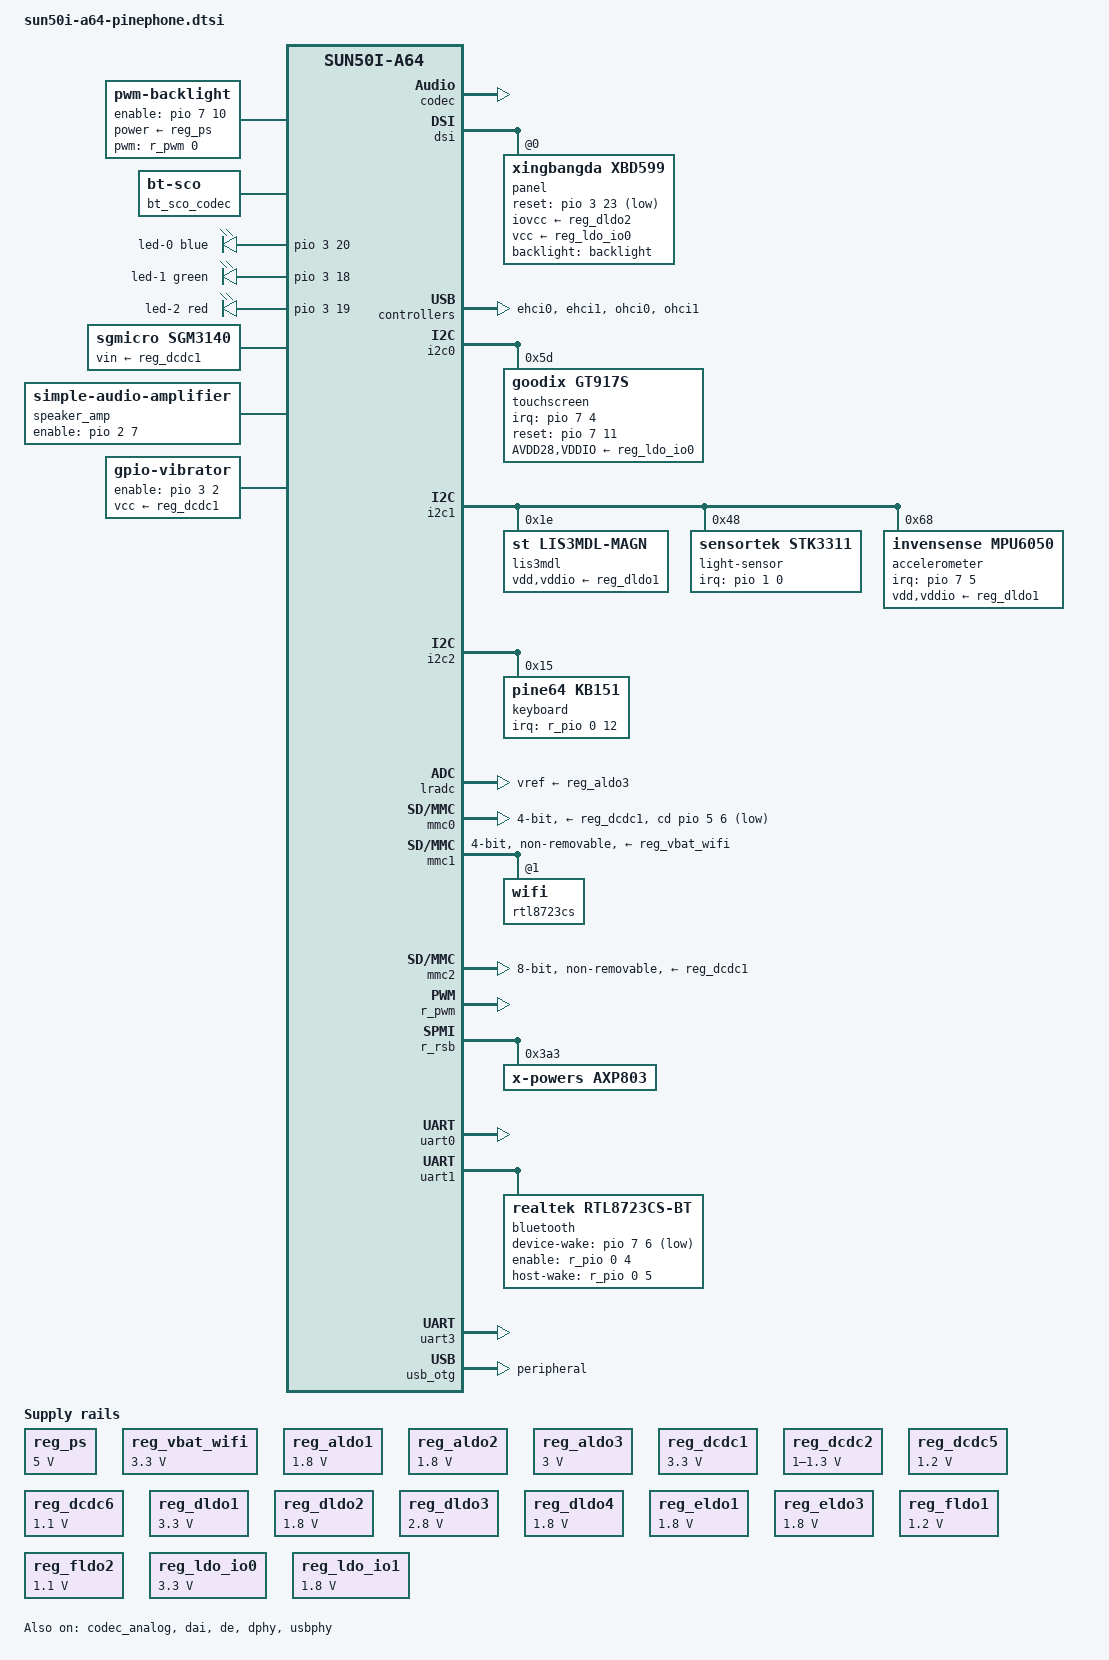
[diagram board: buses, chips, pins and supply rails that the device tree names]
// SPDX-License-Identifier: (GPL-2.0+ OR MIT)
// Copyright (C) 2019 Icenowy Zheng <icenowy@aosc.xyz>
// Copyright (C) 2020 Martijn Braam <martijn@brixit.nl>
// Copyright (C) 2020 Ondrej Jirman <megous@megous.com>

#include "sun50i-a64.dtsi"
#include "sun50i-a64-cpu-opp.dtsi"

#include <dt-bindings/gpio/gpio.h>
#include <dt-bindings/input/input.h>
#include <dt-bindings/leds/common.h>
#include <dt-bindings/pwm/pwm.h>

/ {
	aliases {
		ethernet0 = &rtl8723cs;
		serial0 = &uart0;
	};

	backlight: backlight {
		compatible = "pwm-backlight";
		pwms = <&r_pwm 0 50000 PWM_POLARITY_INVERTED>;
		enable-gpios = <&pio 7 10 GPIO_ACTIVE_HIGH>; /* PH10 */
		power-supply = <&reg_ps>;
		/* Backlight configuration differs per PinePhone revision. */
	};

	bt_sco_codec: bt-sco-codec {
		#sound-dai-cells = <1>;
		compatible = "linux,bt-sco";
	};

	chosen {
		stdout-path = "serial0:115200n8";
	};

	leds {
		compatible = "gpio-leds";

		led-0 {
			function = LED_FUNCTION_INDICATOR;
			color = <LED_COLOR_ID_BLUE>;
			gpios = <&pio 3 20 GPIO_ACTIVE_HIGH>; /* PD20 */
		};

		led-1 {
			function = LED_FUNCTION_INDICATOR;
			color = <LED_COLOR_ID_GREEN>;
			gpios = <&pio 3 18 GPIO_ACTIVE_HIGH>; /* PD18 */
		};

		led-2 {
			function = LED_FUNCTION_INDICATOR;
			color = <LED_COLOR_ID_RED>;
			gpios = <&pio 3 19 GPIO_ACTIVE_HIGH>; /* PD19 */
		};
	};

	reg_ps: ps-regulator {
		compatible = "regulator-fixed";
		regulator-name = "ps";
		regulator-min-microvolt = <5000000>;
		regulator-max-microvolt = <5000000>;
		regulator-boot-on;
	};

	reg_vbat_wifi: vbat-wifi {
		compatible = "regulator-fixed";
		regulator-min-microvolt = <3300000>;
		regulator-max-microvolt = <3300000>;
		regulator-name = "vbat-wifi";
	};

	sgm3140: led-controller {
		compatible = "sgmicro,sgm3140";
		vin-supply = <&reg_dcdc1>;

		sgm3140_flash: led {
			function = LED_FUNCTION_FLASH;
			color = <LED_COLOR_ID_WHITE>;
			flash-max-timeout-us = <250000>;
		};
	};

	speaker_amp: audio-amplifier {
		compatible = "simple-audio-amplifier";
		enable-gpios = <&pio 2 7 GPIO_ACTIVE_HIGH>; /* PC7 */
		sound-name-prefix = "Speaker Amp";
	};

	vibrator {
		compatible = "gpio-vibrator";
		enable-gpios = <&pio 3 2 GPIO_ACTIVE_HIGH>; /* PD2 */
		vcc-supply = <&reg_dcdc1>;
	};
};

&codec {
	pinctrl-names = "default";
	pinctrl-0 = <&aif3_pins>;
	status = "okay";
};

&codec_analog {
	cpvdd-supply = <&reg_eldo1>;
	status = "okay";
};

&cpu0 {
	cpu-supply = <&reg_dcdc2>;
};

&cpu1 {
	cpu-supply = <&reg_dcdc2>;
};

&cpu2 {
	cpu-supply = <&reg_dcdc2>;
};

&cpu3 {
	cpu-supply = <&reg_dcdc2>;
};

&dai {
	status = "okay";
};

&de {
	status = "okay";
};

&dphy {
	status = "okay";
};

&dsi {
	vcc-dsi-supply = <&reg_dldo1>;
	status = "okay";

	panel@0 {
		compatible = "xingbangda,xbd599";
		reg = <0>;
		reset-gpios = <&pio 3 23 GPIO_ACTIVE_LOW>; /* PD23 */
		iovcc-supply = <&reg_dldo2>;
		vcc-supply = <&reg_ldo_io0>;
		backlight = <&backlight>;
	};
};

&ehci0 {
	status = "okay";
};

&ehci1 {
	status = "okay";
};

&i2c0 {
	status = "okay";

	touchscreen@5d {
		compatible = "goodix,gt917s";
		reg = <0x5d>;
		interrupt-parent = <&pio>;
		interrupts = <7 4 IRQ_TYPE_LEVEL_HIGH>; /* PH4 */
		irq-gpios = <&pio 7 4 GPIO_ACTIVE_HIGH>; /* PH4 */
		reset-gpios = <&pio 7 11 GPIO_ACTIVE_HIGH>; /* PH11 */
		AVDD28-supply = <&reg_ldo_io0>;
		VDDIO-supply = <&reg_ldo_io0>;
		touchscreen-size-x = <720>;
		touchscreen-size-y = <1440>;
	};
};

&i2c1 {
	status = "okay";

	/* Magnetometer */
	lis3mdl: magnetometer@1e {
		compatible = "st,lis3mdl-magn";
		reg = <0x1e>;
		vdd-supply = <&reg_dldo1>;
		vddio-supply = <&reg_dldo1>;
	};

	/* Light/proximity sensor */
	light-sensor@48 {
		compatible = "sensortek,stk3311";
		reg = <0x48>;
		interrupt-parent = <&pio>;
		interrupts = <1 0 IRQ_TYPE_EDGE_FALLING>; /* PB0 */
	};

	/* Accelerometer/gyroscope */
	accelerometer@68 {
		compatible = "invensense,mpu6050";
		reg = <0x68>;
		interrupt-parent = <&pio>;
		interrupts = <7 5 IRQ_TYPE_EDGE_RISING>; /* PH5 */
		vdd-supply = <&reg_dldo1>;
		vddio-supply = <&reg_dldo1>;
	};
};

/* Connected to pogo pins (external spring based pinheader for user addons) */
&i2c2 {
	status = "okay";

	keyboard@15 {
		compatible = "pine64,kb151";
		reg = <0x15>;
		interrupt-parent = <&r_pio>;
		interrupts = <0 12 IRQ_TYPE_EDGE_FALLING>; /* PL12 */
		keypad,num-rows = <12>;
		keypad,num-columns = <12>;
		linux,keymap = <MATRIX_KEY(0,  0, KEY_ESC)
				MATRIX_KEY(0,  1, KEY_1)
				MATRIX_KEY(0,  2, KEY_2)
				MATRIX_KEY(0,  3, KEY_3)
				MATRIX_KEY(0,  4, KEY_4)
				MATRIX_KEY(0,  5, KEY_5)
				MATRIX_KEY(0,  6, KEY_6)
				MATRIX_KEY(0,  7, KEY_7)
				MATRIX_KEY(0,  8, KEY_8)
				MATRIX_KEY(0,  9, KEY_9)
				MATRIX_KEY(0, 10, KEY_0)
				MATRIX_KEY(0, 11, KEY_BACKSPACE)
				MATRIX_KEY(1,  0, KEY_TAB)
				MATRIX_KEY(1,  1, KEY_Q)
				MATRIX_KEY(1,  2, KEY_W)
				MATRIX_KEY(1,  3, KEY_E)
				MATRIX_KEY(1,  4, KEY_R)
				MATRIX_KEY(1,  5, KEY_T)
				MATRIX_KEY(1,  6, KEY_Y)
				MATRIX_KEY(1,  7, KEY_U)
				MATRIX_KEY(1,  8, KEY_I)
				MATRIX_KEY(1,  9, KEY_O)
				MATRIX_KEY(1, 10, KEY_P)
				MATRIX_KEY(1, 11, KEY_ENTER)
				MATRIX_KEY(2,  0, KEY_LEFTMETA)
				MATRIX_KEY(2,  1, KEY_A)
				MATRIX_KEY(2,  2, KEY_S)
				MATRIX_KEY(2,  3, KEY_D)
				MATRIX_KEY(2,  4, KEY_F)
				MATRIX_KEY(2,  5, KEY_G)
				MATRIX_KEY(2,  6, KEY_H)
				MATRIX_KEY(2,  7, KEY_J)
				MATRIX_KEY(2,  8, KEY_K)
				MATRIX_KEY(2,  9, KEY_L)
				MATRIX_KEY(2, 10, KEY_SEMICOLON)
				MATRIX_KEY(3,  0, KEY_LEFTSHIFT)
				MATRIX_KEY(3,  1, KEY_Z)
				MATRIX_KEY(3,  2, KEY_X)
				MATRIX_KEY(3,  3, KEY_C)
				MATRIX_KEY(3,  4, KEY_V)
				MATRIX_KEY(3,  5, KEY_B)
				MATRIX_KEY(3,  6, KEY_N)
				MATRIX_KEY(3,  7, KEY_M)
				MATRIX_KEY(3,  8, KEY_COMMA)
				MATRIX_KEY(3,  9, KEY_DOT)
				MATRIX_KEY(3, 10, KEY_SLASH)
				MATRIX_KEY(4,  1, KEY_LEFTCTRL)
				MATRIX_KEY(4,  4, KEY_SPACE)
				MATRIX_KEY(4,  6, KEY_APOSTROPHE)
				MATRIX_KEY(4,  8, KEY_RIGHTBRACE)
				MATRIX_KEY(4,  9, KEY_LEFTBRACE)
				MATRIX_KEY(5,  2, KEY_FN)
				MATRIX_KEY(5,  3, KEY_LEFTALT)
				MATRIX_KEY(5,  5, KEY_RIGHTALT)

				/* FN layer */
				MATRIX_KEY(6,  1, KEY_BACKSLASH)
				MATRIX_KEY(6,  2, KEY_BACKSLASH)
				MATRIX_KEY(6,  3, KEY_DOLLAR)
				MATRIX_KEY(6,  4, KEY_EURO)
				MATRIX_KEY(6,  5, KEY_GRAVE)
				MATRIX_KEY(6,  6, KEY_GRAVE)
				MATRIX_KEY(6,  7, KEY_MINUS)
				MATRIX_KEY(6,  8, KEY_EQUAL)
				MATRIX_KEY(6,  9, KEY_MINUS)
				MATRIX_KEY(6, 10, KEY_EQUAL)
				MATRIX_KEY(6, 11, KEY_DELETE)

				MATRIX_KEY(8,  0, KEY_SYSRQ)
				MATRIX_KEY(8, 10, KEY_INSERT)

				MATRIX_KEY(9,  0, KEY_LEFTSHIFT)
				MATRIX_KEY(9,  8, KEY_HOME)
				MATRIX_KEY(9,  9, KEY_UP)
				MATRIX_KEY(9, 10, KEY_END)

				MATRIX_KEY(10, 1, KEY_LEFTCTRL)
				MATRIX_KEY(10, 6, KEY_LEFT)
				MATRIX_KEY(10, 8, KEY_RIGHT)
				MATRIX_KEY(10, 9, KEY_DOWN)

				MATRIX_KEY(11, 2, KEY_FN)
				MATRIX_KEY(11, 3, KEY_LEFTALT)
				MATRIX_KEY(11, 5, KEY_RIGHTALT)>;
		wakeup-source;
	};
};

&lradc {
	vref-supply = <&reg_aldo3>;
	wakeup-source;
	status = "okay";

	button-200 {
		label = "Volume Up";
		linux,code = <KEY_VOLUMEUP>;
		channel = <0>;
		voltage = <200000>;
	};

	button-400 {
		label = "Volume Down";
		linux,code = <KEY_VOLUMEDOWN>;
		channel = <0>;
		voltage = <400000>;
	};
};

&mmc0 {
	pinctrl-names = "default";
	pinctrl-0 = <&mmc0_pins>;
	vmmc-supply = <&reg_dcdc1>;
	vqmmc-supply = <&reg_dcdc1>;
	cd-gpios = <&pio 5 6 GPIO_ACTIVE_LOW>; /* PF6 */
	disable-wp;
	bus-width = <4>;
	status = "okay";
};

&mmc1 {
	pinctrl-names = "default";
	pinctrl-0 = <&mmc1_pins>;
	vmmc-supply = <&reg_vbat_wifi>;
	vqmmc-supply = <&reg_dldo4>;
	bus-width = <4>;
	non-removable;
	status = "okay";

	rtl8723cs: wifi@1 {
		reg = <1>;
	};
};

&mmc2 {
	pinctrl-names = "default";
	pinctrl-0 = <&mmc2_pins>;
	vmmc-supply = <&reg_dcdc1>;
	vqmmc-supply = <&reg_dcdc1>;
	bus-width = <8>;
	non-removable;
	cap-mmc-hw-reset;
	status = "okay";
};

&ohci0 {
	status = "okay";
};

&ohci1 {
	status = "okay";
};

&pio {
	vcc-pb-supply = <&reg_dcdc1>;
	vcc-pc-supply = <&reg_dcdc1>;
	vcc-pd-supply = <&reg_dcdc1>;
	vcc-pe-supply = <&reg_aldo1>;
	vcc-pf-supply = <&reg_dcdc1>;
	vcc-pg-supply = <&reg_dldo4>;
	vcc-ph-supply = <&reg_dcdc1>;
};

&r_pio {
	/*
	 * FIXME: We can't add that supply for now since it would
	 * create a circular dependency between pinctrl, the regulator
	 * and the RSB Bus.
	 *
	 * vcc-pl-supply = <&reg_aldo2>;
	 */
};

&r_pwm {
	status = "okay";
};

&r_rsb {
	status = "okay";

	axp803: pmic@3a3 {
		compatible = "x-powers,axp803";
		reg = <0x3a3>;
		interrupt-parent = <&r_intc>;
		interrupts = <GIC_SPI 32 IRQ_TYPE_LEVEL_LOW>;
	};
};

#include "axp803.dtsi"

&battery_power_supply {
	status = "okay";
};

&reg_aldo1 {
	regulator-min-microvolt = <1800000>;
	regulator-max-microvolt = <1800000>;
	regulator-name = "dovdd-csi";
};

&reg_aldo2 {
	regulator-always-on;
	regulator-min-microvolt = <1800000>;
	regulator-max-microvolt = <1800000>;
	regulator-name = "vcc-pl";
};

&reg_aldo3 {
	regulator-always-on;
	regulator-min-microvolt = <3000000>;
	regulator-max-microvolt = <3000000>;
	regulator-name = "vcc-pll-avcc";
};

&reg_dcdc1 {
	regulator-always-on;
	regulator-min-microvolt = <3300000>;
	regulator-max-microvolt = <3300000>;
	regulator-name = "vcc-3v3";
};

&reg_dcdc2 {
	regulator-always-on;
	regulator-min-microvolt = <1000000>;
	regulator-max-microvolt = <1300000>;
	regulator-name = "vdd-cpux";
};

/* DCDC3 is polyphased with DCDC2 */

&reg_dcdc5 {
	regulator-always-on;
	regulator-min-microvolt = <1200000>;
	regulator-max-microvolt = <1200000>;
	regulator-name = "vcc-dram";
};

&reg_dcdc6 {
	regulator-always-on;
	regulator-min-microvolt = <1100000>;
	regulator-max-microvolt = <1100000>;
	regulator-name = "vdd-sys";
};

&reg_dldo1 {
	regulator-min-microvolt = <3300000>;
	regulator-max-microvolt = <3300000>;
	regulator-name = "vcc-dsi-sensor";
};

&reg_dldo2 {
	regulator-min-microvolt = <1800000>;
	regulator-max-microvolt = <1800000>;
	regulator-name = "vcc-mipi-io";
};

&reg_dldo3 {
	regulator-min-microvolt = <2800000>;
	regulator-max-microvolt = <2800000>;
	regulator-name = "avdd-csi";
};

&reg_dldo4 {
	regulator-min-microvolt = <1800000>;
	regulator-max-microvolt = <1800000>;
	regulator-name = "vcc-wifi-io";
};

&reg_eldo1 {
	regulator-always-on;
	regulator-min-microvolt = <1800000>;
	regulator-max-microvolt = <1800000>;
	regulator-name = "vcc-lpddr";
};

&reg_eldo3 {
	regulator-min-microvolt = <1800000>;
	regulator-max-microvolt = <1800000>;
	regulator-name = "dvdd-1v8-csi";
};

&reg_fldo1 {
	regulator-min-microvolt = <1200000>;
	regulator-max-microvolt = <1200000>;
	regulator-name = "vcc-1v2-hsic";
};

&reg_fldo2 {
	regulator-always-on;
	regulator-min-microvolt = <1100000>;
	regulator-max-microvolt = <1100000>;
	regulator-name = "vdd-cpus";
};

&reg_ldo_io0 {
	regulator-min-microvolt = <3300000>;
	regulator-max-microvolt = <3300000>;
	regulator-name = "vcc-lcd-ctp-stk";
	status = "okay";
};

&reg_ldo_io1 {
	regulator-min-microvolt = <1800000>;
	regulator-max-microvolt = <1800000>;
	regulator-name = "vcc-1v8-typec";
	status = "okay";
};

&reg_rtc_ldo {
	regulator-name = "vcc-rtc";
};

&sound {
	status = "okay";
	simple-audio-card,name = "PinePhone";
	simple-audio-card,aux-devs = <&codec_analog>, <&speaker_amp>;
	simple-audio-card,widgets = "Microphone", "Headset Microphone",
				    "Microphone", "Internal Microphone",
				    "Headphone", "Headphone Jack",
				    "Speaker", "Internal Earpiece",
				    "Speaker", "Internal Speaker";
	simple-audio-card,routing =
			"Headphone Jack", "HP",
			"Internal Earpiece", "EARPIECE",
			"Internal Speaker", "Speaker Amp OUTL",
			"Internal Speaker", "Speaker Amp OUTR",
			"Speaker Amp INL", "LINEOUT",
			"Speaker Amp INR", "LINEOUT",
			"Left DAC", "DACL",
			"Right DAC", "DACR",
			"ADCL", "Left ADC",
			"ADCR", "Right ADC",
			"Internal Microphone", "MBIAS",
			"MIC1", "Internal Microphone",
			"Headset Microphone", "HBIAS",
			"MIC2", "Headset Microphone";

	simple-audio-card,dai-link@2 {
		format = "dsp_a";
		frame-master = <&link2_codec>;
		bitclock-master = <&link2_codec>;
		bitclock-inversion;

		link2_cpu: cpu {
			sound-dai = <&bt_sco_codec 0>;
		};

		link2_codec: codec {
			sound-dai = <&codec 2>;
			dai-tdm-slot-num = <1>;
			dai-tdm-slot-width = <32>;
		};
	};
};

&uart0 {
	pinctrl-names = "default";
	pinctrl-0 = <&uart0_pb_pins>;
	status = "okay";
};

&uart1 {
	pinctrl-names = "default";
	pinctrl-0 = <&uart1_pins>, <&uart1_rts_cts_pins>;
	status = "okay";

	bluetooth {
		compatible = "realtek,rtl8723cs-bt";
		device-wake-gpios = <&pio 7 6 GPIO_ACTIVE_LOW>; /* PH6 */
		enable-gpios = <&r_pio 0 4 GPIO_ACTIVE_HIGH>; /* PL4 */
		host-wake-gpios = <&r_pio 0 5 GPIO_ACTIVE_HIGH>; /* PL5 */
	};
};

/* Connected to the modem (hardware flow control can't be used) */
&uart3 {
	pinctrl-names = "default";
	pinctrl-0 = <&uart3_pins>;
	status = "okay";
};

&usb_otg {
	dr_mode = "peripheral";
	status = "okay";
};

&usb_power_supply {
	status = "okay";
};

&usbphy {
	status = "okay";
};
